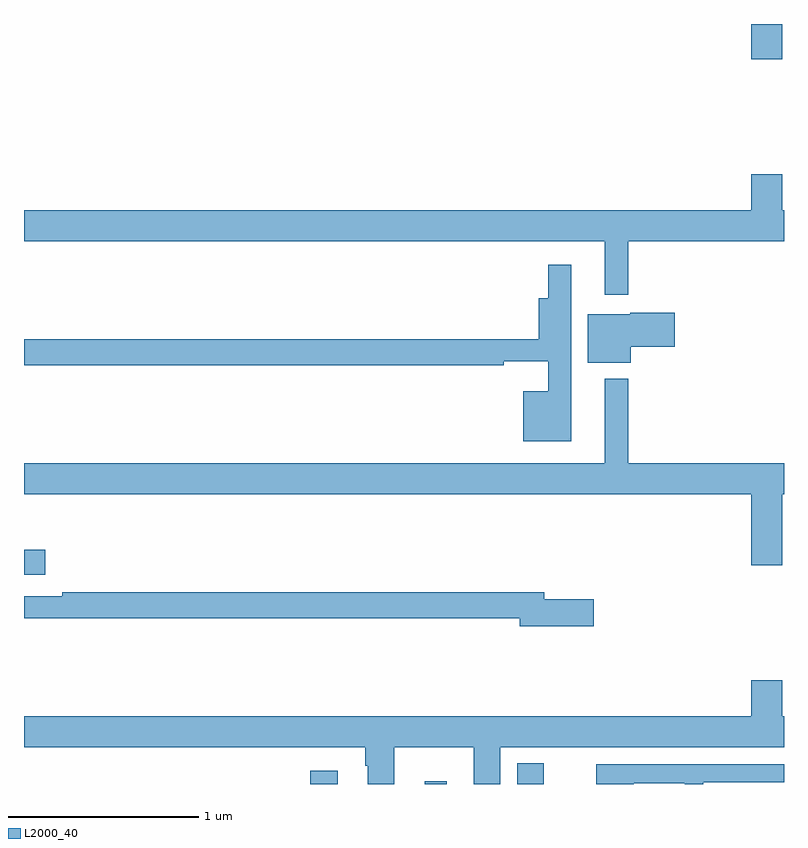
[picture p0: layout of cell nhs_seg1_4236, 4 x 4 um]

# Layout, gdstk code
import gdstk
lib = gdstk.Library(unit=1e-6, precision=1e-09)
def R(c, l, rs):  # rectangles x0, y0, x1, y1
    for r in rs: c.add(gdstk.rectangle(r[:2], r[2:], *l))
def P(c, l, *ps):  # polygons
    for p in ps: c.add(gdstk.Polygon(p, *l))
L2000_40 = (2000, 40)

nhs_seg1_4236 = lib.new_cell('nhs_seg1_4236')
R(nhs_seg1_4236, L2000_40, [(342.506,558.199,342.652,558.268), (343.109,558.199,343.225,558.214), (343.595,558.199,343.735,558.307), (341,559.301,341.113,559.431), (344.828,562.014,344.992,562.199)])
P(nhs_seg1_4236, L2000_40, [(344.179,561.056),(345,561.056),(345,561.22),(344.992,561.22),(344.992,561.409),(344.828,561.409),(344.828,561.22),(341,561.22),(341,561.056),(344.057,561.056),(344.057,560.775),(344.179,560.775)],
  [(343.879,560.932),(343.758,560.932),(343.758,560.755),(343.709,560.755),(343.709,560.54),(341,560.54),(341,560.404),(343.525,560.404),(343.525,560.423),(343.758,560.423),(343.758,560.266),(343.628,560.266),(343.628,560.003),(343.879,560.003)],
  [(344.194,560.501),(344.425,560.501),(344.425,560.679),(344.19,560.679),(344.19,560.671),(343.967,560.671),(343.967,560.417),(344.194,560.417)],
  [(344.992,559.724),(345,559.724),(345,559.888),(344.179,559.888),(344.179,560.332),(344.057,560.332),(344.057,559.888),(341,559.888),(341,559.724),(344.828,559.724),(344.828,559.35),(344.992,559.35)],
  [(343.999,559.172),(343.738,559.172),(343.738,559.208),(341.2,559.208),(341.2,559.188),(341,559.188),(341,559.072),(343.61,559.072),(343.61,559.03),(343.999,559.03)],
  [(341,558.392),(342.797,558.392),(342.797,558.296),(342.809,558.296),(342.809,558.199),(342.949,558.199),(342.949,558.392),(343.367,558.392),(343.367,558.199),(343.507,558.199),(343.507,558.392),(345,558.392),(345,558.556),(344.992,558.556),(344.992,558.745),(344.828,558.745),(344.828,558.556),(341,558.556)],
  [(344.209,558.203),(344.478,558.203),(344.478,558.199),(344.574,558.199),(344.574,558.207),(345,558.207),(345,558.303),(344.471,558.303),(344.471,558.304),(344.011,558.304),(344.011,558.199),(344.209,558.199)])

lib.write_gds('nhs_seg1_4236.gds')
